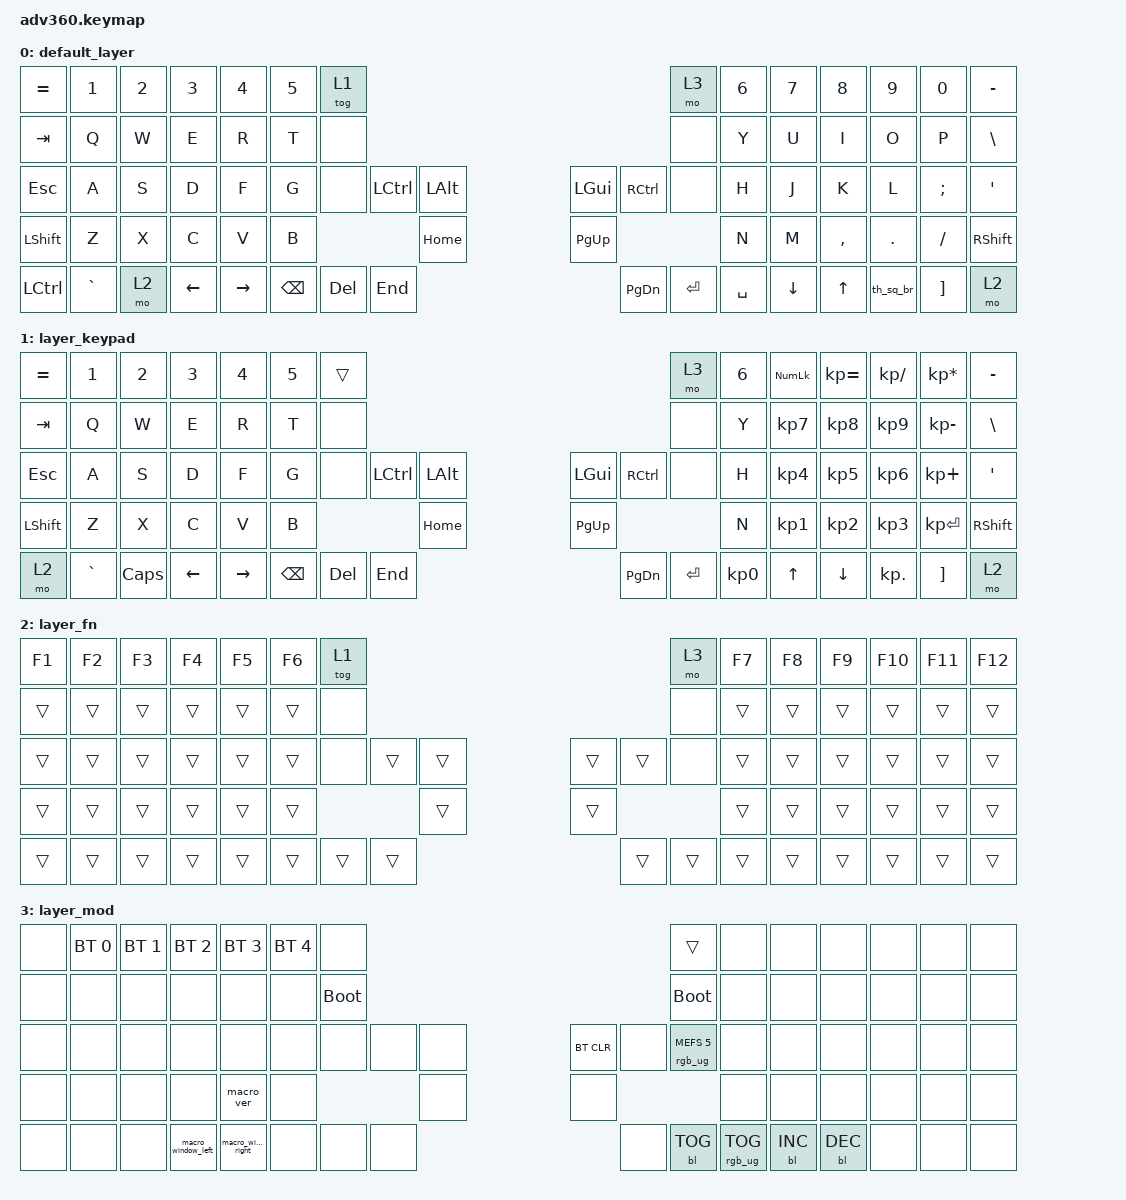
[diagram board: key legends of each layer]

/*
 * Copyright (c) 2020 The ZMK Contributors
 *
 * SPDX-License-Identifier: MIT
 */


/* THIS FILE WAS GENERATED!
 *
 * This file was generated automatically. You may or may not want to
 * edit it directly.
 */

#include <behaviors.dtsi>
#include <dt-bindings/zmk/keys.h>
#include <dt-bindings/zmk/bt.h>
#include <dt-bindings/zmk/rgb.h>
#include <dt-bindings/zmk/backlight.h>

/ {
  behaviors {
    #include "macros.dtsi"
    #include "version.dtsi"

    #define TAPPING_TERM 175
    #define TD_TAPPING_TERM 225
    #define QUICK_TAP_TERM 175
    #define ADAPTIVE_KEY_TIMEOUT 2000

    #define TAPHOLD_SYMBOL(NAME, TAP, HOLD) \
    NAME: NAME { \
        compatible = "zmk,behavior-hold-tap"; \
        label = "NAME"; \
        #binding-cells = <2>; \
        tapping-term-ms = <TAPPING_TERM>; \
        flavor = "tap-preferred"; \
        quick-tap-ms = <QUICK_TAP_TERM>; \
        require-prior-idle-ms = <QUICK_TAP_TERM>; \
        bindings = <HOLD TAP>; \
    };

    hm: homerow_mods {
        compatible = "zmk,behavior-hold-tap";
        label = "HOMEROW_MODS";
        #binding-cells = <2>;
        tapping-term-ms = <200>;
        quick_tap_ms = <175>;
        flavor = "tap-preferred";
        bindings = <&kp>, <&kp>;
    };

    TAPHOLD_SYMBOL(th_sq_br, &macro_braces, &macro_braces)
  };

    keymap {
        compatible = "zmk,keymap";


        default_layer {
            bindings = <
 &kp EQUAL     &kp N1  &kp N2    &kp N3     &kp N4  &kp N5              &tog 1                                                                 &mo 3  &kp N6    &kp N7     &kp N8   &kp N9    &kp N0  &kp MINUS
   &kp TAB      &kp Q   &kp W     &kp E      &kp R   &kp T               &none                                                                 &none   &kp Y     &kp U      &kp I    &kp O     &kp P   &kp BSLH
   &kp ESC      &kp A   &kp S     &kp D      &kp F   &kp G               &none  &kp LCTRL  &kp LALT                   &kp LGUI  &kp RCTRL      &none   &kp H     &kp J      &kp K    &kp L  &kp SEMI    &kp SQT
 &kp LSHFT      &kp Z   &kp X     &kp C      &kp V   &kp B                                 &kp HOME                  &kp PG_UP                         &kp N     &kp M  &kp COMMA  &kp DOT  &kp FSLH  &kp RSHFT
 &kp LCTRL  &kp GRAVE   &mo 2  &kp LEFT  &kp RIGHT                    &kp BSPC    &kp DEL   &kp END                  &kp PG_DN  &kp ENTER  &kp SPACE          &kp DOWN     &kp UP  &th_sq_br   &kp RBKT      &mo 2
            >;
        };

        layer_keypad {
            bindings = <
 &kp EQUAL     &kp N1    &kp N2    &kp N3     &kp N4  &kp N5              &trans                                                                 &mo 3  &kp N6  &kp KP_NUM  &kp KP_EQUAL  &kp KP_DIVIDE  &kp KP_MULTIPLY  &kp MINUS
   &kp TAB      &kp Q     &kp W     &kp E      &kp R   &kp T               &none                                                                 &none   &kp Y   &kp KP_N7     &kp KP_N8      &kp KP_N9     &kp KP_MINUS   &kp BSLH
   &kp ESC      &kp A     &kp S     &kp D      &kp F   &kp G               &none  &kp LCTRL  &kp LALT                   &kp LGUI  &kp RCTRL      &none   &kp H   &kp KP_N4     &kp KP_N5      &kp KP_N6      &kp KP_PLUS    &kp SQT
 &kp LSHFT      &kp Z     &kp X     &kp C      &kp V   &kp B                                 &kp HOME                  &kp PG_UP                         &kp N   &kp KP_N1     &kp KP_N2      &kp KP_N3     &kp KP_ENTER  &kp RSHFT
     &mo 2  &kp GRAVE  &kp CAPS  &kp LEFT  &kp RIGHT                    &kp BSPC    &kp DEL   &kp END                  &kp PG_DN  &kp ENTER  &kp KP_N0              &kp UP      &kp DOWN     &kp KP_DOT         &kp RBKT      &mo 2
            >;
        };

        layer_fn {
            bindings = <
 &kp F1  &kp F2  &kp F3  &kp F4  &kp F5  &kp F6            &tog 1                                                   &mo 3  &kp F7  &kp F8  &kp F9  &kp F10  &kp F11  &kp F12
 &trans  &trans  &trans  &trans  &trans  &trans             &none                                                   &none  &trans  &trans  &trans   &trans   &trans   &trans
 &trans  &trans  &trans  &trans  &trans  &trans             &none  &trans  &trans                  &trans  &trans   &none  &trans  &trans  &trans   &trans   &trans   &trans
 &trans  &trans  &trans  &trans  &trans  &trans                            &trans                  &trans                  &trans  &trans  &trans   &trans   &trans   &trans
 &trans  &trans  &trans  &trans  &trans                    &trans  &trans  &trans                  &trans  &trans  &trans          &trans  &trans   &trans   &trans   &trans
            >;
        };

        layer_mod {
            bindings = <
  &none  &bt BT_SEL 0  &bt BT_SEL 1        &bt BT_SEL 2         &bt BT_SEL 3  &bt BT_SEL 4                  &none                                                                          &trans   &none       &none       &none   &none   &none   &none
  &none         &none         &none               &none                &none         &none            &bootloader                                                                     &bootloader   &none       &none       &none   &none   &none   &none
  &none         &none         &none               &none                &none         &none                  &none   &none   &none                  &bt BT_CLR       &none  &rgb_ug RGB_MEFS_CMD 5   &none       &none       &none   &none   &none   &none
  &none         &none         &none               &none           &macro_ver         &none                                  &none                       &none                                       &none       &none       &none   &none   &none   &none
  &none         &none         &none  &macro_window_left  &macro_window_right                                &none   &none   &none                       &none  &bl BL_TOG         &rgb_ug RGB_TOG          &bl BL_INC  &bl BL_DEC   &none   &none   &none
            >;
        };

    };
};
